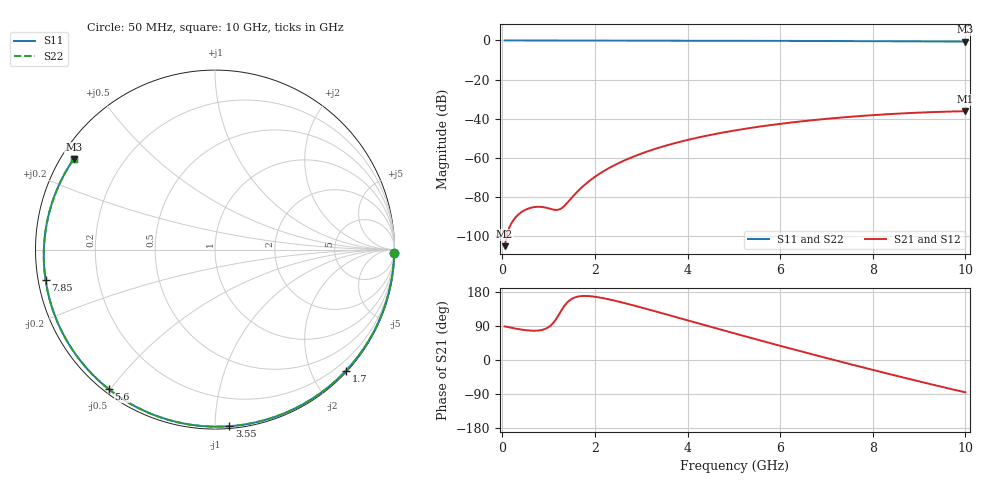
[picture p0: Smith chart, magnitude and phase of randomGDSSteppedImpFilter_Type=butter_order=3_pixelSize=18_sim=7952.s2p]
! freq	dB(S11)	phase(S11)	dB(S12)	phase(S12)
!  dB(S21)	phase(S21)	dB(S22)	phase(S22)
!S-par simulation data
#  GHz  S  DB  R 50
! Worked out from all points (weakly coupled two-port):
!   200 points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, 50 MHz to 10 GHz, reference 50 ohm
!   highest |S21| = -36.20 dB at 10 GHz (marker M1); lowest = -105.2 dB at 50 MHz (marker M2)
!   lowest |S11| = -0.6 dB at 10 GHz (marker M3), VSWR 29.87, Z = 1.82 + j14.6 ohm
!   |S11| at or under -10 dB: nowhere
!   |S22| runs from -0.6 to 0.0 dB; largest |S21 - S12| = 0
!   S11 on the Smith chart (normalised r, x): 50 MHz: 3, -92; 1.7 GHz: 0.02, -2.55; 3.55 GHz: 0.01, -1.08; 5.6 GHz: 0.01, -0.50; 7.85 GHz: 0.02, -0.09; 10 GHz: 0.04, +0.29
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0.05  -0.01 -1.2  -105.25 88.7  -105.25 88.7  -0.01 -1.2
0.4  -0.02 -10.2  -88.05 80.6  -88.05 80.6  -0.02 -10.2
0.75  -0.02 -19.2  -85.13 77.5  -85.13 77.5  -0.02 -19.2
1.5  -0.05 -37.9  -80.47 161.3  -80.47 161.3  -0.05 -37.9
1.55  -0.05 -39.1  -79.15 164.3  -79.15 164.3  -0.05 -39.1
1.7  -0.05 -42.8  -75.53 168.6  -75.53 168.6  -0.05 -42.8
1.75  -0.06 -44.0  -74.45 169.0  -74.45 169.0  -0.06 -44.0
2.05  -0.06 -51.2  -68.95 166.0  -68.95 166.0  -0.06 -51.2
2.45  -0.08 -60.7  -63.48 155.9  -63.48 155.9  -0.08 -60.7
2.9  -0.09 -71.0  -58.80 141.9  -58.80 141.9  -0.09 -71.0
3.4  -0.11 -82.1  -54.74 125.2  -54.74 125.2  -0.11 -82.1
3.55  -0.11 -85.4  -53.70 120.1  -53.70 120.1  -0.11 -85.4
4.3  -0.14 -101.3  -49.29 94.4  -49.29 94.4  -0.14 -101.3
5.05  -0.17 -116.5  -45.93 69.0  -45.93 69.0  -0.17 -116.5
5.6  -0.20 -127.2  -43.93 50.6  -43.93 50.6  -0.20 -127.2
6.15  -0.23 -137.8  -42.23 32.5  -42.23 32.5  -0.23 -137.8
6.7  -0.27 -148.2  -40.80 14.8  -40.80 14.8  -0.27 -148.2
7.3  -0.32 -159.5  -39.47 -4.3  -39.47 -4.3  -0.32 -159.5
7.85  -0.36 -169.9  -38.46 -21.5  -38.46 -21.5  -0.36 -169.9
8.35  -0.41 -179.5  -37.70 -36.8  -37.70 -36.8  -0.41 -179.5
9.2  -0.50 163.8  -36.73 -62.3  -36.73 -62.3  -0.50 163.8
10  -0.58 147.4  -36.20 -85.4  -36.20 -85.4  -0.58 147.4
